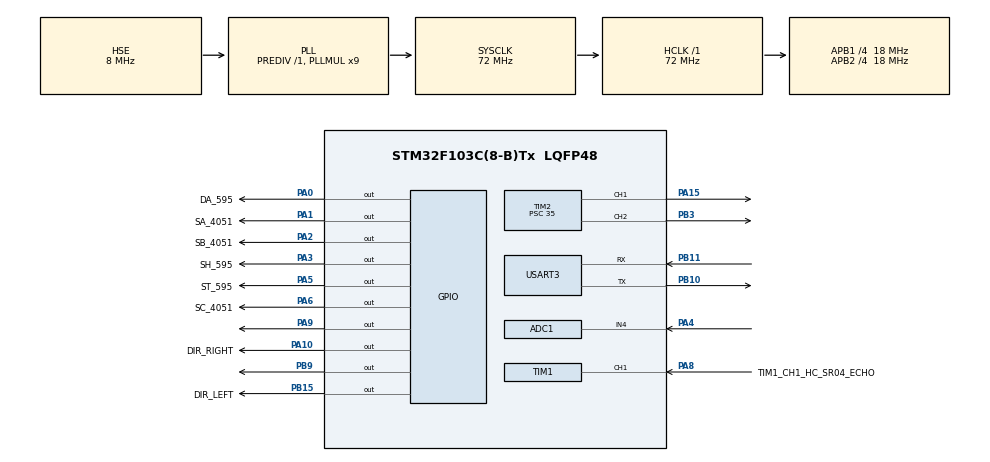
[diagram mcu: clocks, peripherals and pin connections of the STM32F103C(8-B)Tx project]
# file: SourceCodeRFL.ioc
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ADC1.Channel-5\#ChannelRegularConversion=ADC_CHANNEL_4
ADC1.ContinuousConvMode=ENABLE
ADC1.NbrOfConversionFlag=1
ADC1.Rank-5\#ChannelRegularConversion=1
ADC1.SamplingTime-5\#ChannelRegularConversion=ADC_SAMPLETIME_239CYCLES_5
ADC1.master=1
Mcu.Family=STM32F1
Mcu.Name=STM32F103C(8-B)Tx
Mcu.Package=LQFP48
NVIC.PriorityGroup=NVIC_PRIORITYGROUP_4
NVIC.TIM1_CC_IRQn=true\:0\:0\:true\:false\:true\:true\:true\:true
NVIC.TIM4_IRQn=true\:5\:0\:true\:false\:true\:true\:true\:true
NVIC.USART3_IRQn=true\:10\:0\:true\:false\:true\:true\:true\:true
PA0-WKUP.GPIO_Label=DA_595
PA0-WKUP.Signal=GPIO_Output
PA1.GPIO_Label=SA_4051
PA1.GPIO_PuPd=GPIO_NOPULL
PA1.Signal=GPIO_Output
PA10.GPIO_Label=DIR_RIGHT
PA10.Signal=GPIO_Output
PA13.Mode=Serial_Wire
PA13.Signal=SYS_JTMS-SWDIO
PA14.Mode=Serial_Wire
PA14.Signal=SYS_JTCK-SWCLK
PA15.Signal=S_TIM2_CH1_ETR
PA2.GPIO_Label=SB_4051
PA2.GPIO_PuPd=GPIO_NOPULL
PA2.Signal=GPIO_Output
PA3.GPIO_Label=SH_595
PA3.GPIO_PuPd=GPIO_NOPULL
PA3.Signal=GPIO_Output
PA4.Signal=ADCx_IN4
PA5.GPIO_Label=ST_595
PA5.GPIO_PuPd=GPIO_NOPULL
PA5.Signal=GPIO_Output
PA6.GPIO_Label=SC_4051
PA6.GPIO_PuPd=GPIO_NOPULL
PA6.Signal=GPIO_Output
PA8.GPIO_Label=TIM1_CH1_HC_SR04_ECHO
PA8.Signal=S_TIM1_CH1
PA9.Signal=GPIO_Output
PB10.Mode=Asynchronous
PB10.Signal=USART3_TX
PB11.Mode=Asynchronous
PB11.Signal=USART3_RX
PB15.GPIO_Label=DIR_LEFT
PB15.Signal=GPIO_Output
PB3.Signal=S_TIM2_CH2
PB9.Signal=GPIO_Output
PD0-OSC_IN.Mode=HSE-External-Oscillator
PD0-OSC_IN.Signal=RCC_OSC_IN
PD1-OSC_OUT.Mode=HSE-External-Oscillator
PD1-OSC_OUT.Signal=RCC_OSC_OUT
ProjectManager.HeapSize=0x200
ProjectManager.StackSize=0x400
ProjectManager.TargetToolchain=STM32CubeIDE
RCC.AHBFreq_Value=72000000
RCC.APB1CLKDivider=RCC_HCLK_DIV4
RCC.APB1Freq_Value=18000000
RCC.APB1TimFreq_Value=36000000
RCC.APB2CLKDivider=RCC_HCLK_DIV4
RCC.APB2Freq_Value=18000000
RCC.APB2TimFreq_Value=36000000
RCC.HCLKFreq_Value=72000000
RCC.PLLMUL=RCC_PLL_MUL9
RCC.PLLSourceVirtual=RCC_PLLSOURCE_HSE
RCC.SYSCLKFreq_VALUE=72000000
RCC.SYSCLKSource=RCC_SYSCLKSOURCE_PLLCLK
RCC.USBFreq_Value=72000000
SH.ADCx_IN4.0=ADC1_IN4,IN4
SH.S_TIM1_CH1.0=TIM1_CH1,Input_Capture1_from_TI1
SH.S_TIM2_CH1_ETR.0=TIM2_CH1,PWM Generation1 CH1
SH.S_TIM2_CH2.0=TIM2_CH2,PWM Generation2 CH2
TIM1.Channel-Input_Capture1_from_TI1=TIM_CHANNEL_1
TIM1.Period=0xffff-1
TIM1.Prescaler=35
TIM2.Channel-PWM\ Generation1\ CH1=TIM_CHANNEL_1
TIM2.Channel-PWM\ Generation2\ CH2=TIM_CHANNEL_2
TIM2.Period=99
TIM2.Prescaler=35
TIM4.Period=99
TIM4.Prescaler=35
USART3.VirtualMode=VM_ASYNC
VP_TIM1_VS_ClockSourceINT.Mode=Internal
VP_TIM2_VS_ClockSourceINT.Mode=Internal
VP_TIM4_VS_ClockSourceINT.Mode=Internal
board=custom

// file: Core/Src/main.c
/* USER CODE BEGIN Header */
/**
 ******************************************************************************
 * @file           : main.c
 * @brief          : Main program body
 ******************************************************************************
 * @attention
 *
 * Copyright (c) 2023 STMicroelectronics.
 * All rights reserved.
 *
 * This software is licensed under terms that can be found in the LICENSE file
 * in the root directory of this software component.
 * If no LICENSE file comes with this software, it is provided AS-IS.
 *
 ******************************************************************************
 */
/* USER CODE END Header */
#include "main.h"

/* USER CODE BEGIN Includes */
#include<Lib_Sensor.h>
#include<lib_motor.h>
#include<Lib_Controller.h>
#include<lib_uart.h>
#include<HC_SR04.h>
/* USER CODE END Includes */

/* USER CODE BEGIN PD */
#define threshold_main 50
/* USER CODE END PD */

/* USER CODE BEGIN PM */
#define TRIG_PIN GPIO_PIN_9
#define TRIG_PORT GPIOA

//#define ECHO_PIN GPIO_PIN_9
//#define ECHO_PORT GPIOB
/* USER CODE END PM */

ADC_HandleTypeDef hadc1;

TIM_HandleTypeDef htim1;
TIM_HandleTypeDef htim2;
TIM_HandleTypeDef htim4;

UART_HandleTypeDef huart3;

/* USER CODE BEGIN PV */
/*value sp PID func*/
	//                                      |       //Address       Default         Description
	uint16_t threshold_main_def[7] 			= {65, 40, 40, 40, 40, 40, 40};
	uint8_t tim3_1ms_flag 					= 0;
	uint8_t tim3_100ms_flag					= 0;
/*value sp UART*/
	char rxByte 			                = 0;
	uint8_t rxBuffer[10]	                ={0};
	uint8_t rxBufferIndex 	                = 0;
	STATE_ROBOT en_state_robot 				= STOP_ROBOT;
uint16_t ADC_Value_1Line 					= 0;
/* USER CODE END PV */

void SystemClock_Config(void);
static void MX_GPIO_Init(void);
static void MX_ADC1_Init(void);
static void MX_TIM1_Init(void);
static void MX_USART3_UART_Init(void);
static void MX_TIM2_Init(void);
static void MX_TIM4_Init(void);

/* USER CODE BEGIN 0 */
void HAL_UART_RxCpltCallback(UART_HandleTypeDef *huart)
{
	if(rxByte == '\r')
	{
		en_state_robot = bluetooth_check_string_stop_start_robot(rxBuffer);
		bluetooth_rx_change_kx(rxBuffer);
		change_line_sensor_read(rxBuffer);
		for(uint8_t i =0; i < sizeof(rxBuffer); i++)
		{
			rxBuffer[i] = 0;
			rxBufferIndex = 0;
		}
	}
	else
	{
		rxBuffer[rxBufferIndex] = rxByte;
		rxBufferIndex++;
	}
	if(rxBufferIndex >= 20)
	{
		rxBufferIndex = 0;
	}
	HAL_UART_Receive_IT(&huart3, (uint8_t*)&rxByte, 1);
}

void HAL_TIM_PeriodElapsedCallback(TIM_HandleTypeDef *htim)
{
	static uint8_t tim3_1ms_count = 0;
	static uint16_t tim3_100ms_count = 0;
	if (htim->Instance == TIM4)
	{
		tim3_1ms_count++;
		if(tim3_1ms_count	== 10)
		{
			tim3_1ms_count = 0;
			tim3_1ms_flag = 1;
		}
	}

	if (htim->Instance == TIM4)
	{
		tim3_100ms_count++;
		if(tim3_100ms_count	== 1000)
		{
			tim3_100ms_count = 0;
			tim3_100ms_flag = 1;
		}
	}
}
/* USER CODE END 0 */

int main(void)
{

  /* MCU Configuration--------------------------------------------------------*/

  /* Reset of all peripherals, Initializes the Flash interface and the Systick. */
  HAL_Init();

  /* Configure the system clock */
  SystemClock_Config();

  /* USER CODE BEGIN SysInit */
  /*Init GPIO Sensor for Lib*/

  /* USER CODE END SysInit */

  /* Initialize all configured peripherals */
  MX_GPIO_Init();
  MX_ADC1_Init();
  MX_TIM1_Init();
  MX_USART3_UART_Init();
  MX_TIM2_Init();
  MX_TIM4_Init();
  /* USER CODE BEGIN 2 */
  IC74HC4051_Init(hadc1, GPIOA, SA_4051_Pin, SB_4051_Pin, SC_4051_Pin);												// Port: ADC COM // Pin: S0 S1 S2
  IC74HC595_Init(GPIOA, GPIOA, ST_595_GPIO_Port, DA_595_Pin, SH_595_Pin, ST_595_Pin);								// DS SH ST
 	/*Init GPIO Motor for Lib*/
  		TimerInit(	&htim2, &htim2,																					\
  					TIM_CHANNEL_1, TIM_CHANNEL_2, 																	\
					DIR_RIGHT_GPIO_Port, DIR_RIGHT_Pin, 															\
					DIR_LEFT_GPIO_Port, DIR_LEFT_Pin);																\
	/*Init GPIO UART for Lib*/
		bluetooth_init_UART(&huart3);
	/*Init GPIO UART for Lib*/
//		HC_SR04_init(htim1, TIM_CHANNEL_1, TIM_CHANNEL_1, TIM_IT_CC1, TRIG_PORT, TRIG_PIN);
	/*Start counter timer*/
		HAL_TIM_PWM_Start(&htim2, TIM_CHANNEL_1);
		HAL_TIM_PWM_Start(&htim2, TIM_CHANNEL_2);

		HAL_TIM_Base_Start_IT(&htim4);

		HAL_TIM_IC_Start_IT(&htim1, TIM_CHANNEL_1);

	HAL_UART_Receive_IT(&huart3, (uint8_t*)&rxByte, 1);
  /* USER CODE END 2 */

  /* Infinite loop */
  /* USER CODE BEGIN WHILE */
	while (1)
	{
		//abc
		/*100ms lay mau sensor HC_SR04*/
//			if(tim3_100ms_flag == 1)
//			{
//				tim3_100ms_flag = 0;
//				dis = HCSR04_GetDis(); 	/*Value dis: robot_block*/
//			}
		/*Start by bluetooth*/
			switch(en_state_robot)
			{
				case START_ROBOT:
					if(tim3_1ms_flag == 1)
					{
						tim3_1ms_flag = 0;
						PID_control(kx, threshold_main_def);
					}
					break;
				case STOP_ROBOT:
					motor_move(0, 0);
					IC74HC595(0x00);
					break;
				case CHECK_THRESHOLD:
					__NOP();
					break;
				case POWER:
					motor_move(basespeedr, basespeedl);
					break;
				default:
					break;
			}
    /* USER CODE END WHILE */

	}
}

void SystemClock_Config(void)
{
  RCC_OscInitTypeDef RCC_OscInitStruct = {0};
  RCC_ClkInitTypeDef RCC_ClkInitStruct = {0};
  RCC_PeriphCLKInitTypeDef PeriphClkInit = {0};

  /** Initializes the RCC Oscillators according to the specified parameters
  * in the RCC_OscInitTypeDef structure.
  */
  RCC_OscInitStruct.OscillatorType = RCC_OSCILLATORTYPE_HSE;
  RCC_OscInitStruct.HSEState = RCC_HSE_ON;
  RCC_OscInitStruct.HSEPredivValue = RCC_HSE_PREDIV_DIV1;
  RCC_OscInitStruct.HSIState = RCC_HSI_ON;
  RCC_OscInitStruct.PLL.PLLState = RCC_PLL_ON;
  RCC_OscInitStruct.PLL.PLLSource = RCC_PLLSOURCE_HSE;
  RCC_OscInitStruct.PLL.PLLMUL = RCC_PLL_MUL9;
  if (HAL_RCC_OscConfig(&RCC_OscInitStruct) != HAL_OK)
  {
    Error_Handler();
  }

  /** Initializes the CPU, AHB and APB buses clocks
  */
  RCC_ClkInitStruct.ClockType = RCC_CLOCKTYPE_HCLK|RCC_CLOCKTYPE_SYSCLK
                              |RCC_CLOCKTYPE_PCLK1|RCC_CLOCKTYPE_PCLK2;
  RCC_ClkInitStruct.SYSCLKSource = RCC_SYSCLKSOURCE_PLLCLK;
  RCC_ClkInitStruct.AHBCLKDivider = RCC_SYSCLK_DIV1;
  RCC_ClkInitStruct.APB1CLKDivider = RCC_HCLK_DIV4;
  RCC_ClkInitStruct.APB2CLKDivider = RCC_HCLK_DIV4;

  if (HAL_RCC_ClockConfig(&RCC_ClkInitStruct, FLASH_LATENCY_2) != HAL_OK)
  {
    Error_Handler();
  }
  PeriphClkInit.PeriphClockSelection = RCC_PERIPHCLK_ADC;
  PeriphClkInit.AdcClockSelection = RCC_ADCPCLK2_DIV2;
  if (HAL_RCCEx_PeriphCLKConfig(&PeriphClkInit) != HAL_OK)
  {
    Error_Handler();
  }
}

static void MX_ADC1_Init(void)
{

  ADC_ChannelConfTypeDef sConfig = {0};

  /** Common config
  */
  hadc1.Instance = ADC1;
  hadc1.Init.ScanConvMode = ADC_SCAN_DISABLE;
  hadc1.Init.ContinuousConvMode = ENABLE;
  hadc1.Init.DiscontinuousConvMode = DISABLE;
  hadc1.Init.ExternalTrigConv = ADC_SOFTWARE_START;
  hadc1.Init.DataAlign = ADC_DATAALIGN_RIGHT;
  hadc1.Init.NbrOfConversion = 1;
  if (HAL_ADC_Init(&hadc1) != HAL_OK)
  {
    Error_Handler();
  }

  /** Configure Regular Channel
  */
  sConfig.Channel = ADC_CHANNEL_4;
  sConfig.Rank = ADC_REGULAR_RANK_1;
  sConfig.SamplingTime = ADC_SAMPLETIME_239CYCLES_5;
  if (HAL_ADC_ConfigChannel(&hadc1, &sConfig) != HAL_OK)
  {
    Error_Handler();
  }

}

static void MX_TIM1_Init(void)
{

  TIM_ClockConfigTypeDef sClockSourceConfig = {0};
  TIM_MasterConfigTypeDef sMasterConfig = {0};
  TIM_IC_InitTypeDef sConfigIC = {0};

  htim1.Instance = TIM1;
  htim1.Init.Prescaler = 35;
  htim1.Init.CounterMode = TIM_COUNTERMODE_UP;
  htim1.Init.Period = 0xffff-1;
  htim1.Init.ClockDivision = TIM_CLOCKDIVISION_DIV1;
  htim1.Init.RepetitionCounter = 0;
  htim1.Init.AutoReloadPreload = TIM_AUTORELOAD_PRELOAD_DISABLE;
  if (HAL_TIM_Base_Init(&htim1) != HAL_OK)
  {
    Error_Handler();
  }
  sClockSourceConfig.ClockSource = TIM_CLOCKSOURCE_INTERNAL;
  if (HAL_TIM_ConfigClockSource(&htim1, &sClockSourceConfig) != HAL_OK)
  {
    Error_Handler();
  }
  if (HAL_TIM_IC_Init(&htim1) != HAL_OK)
  {
    Error_Handler();
  }
  sMasterConfig.MasterOutputTrigger = TIM_TRGO_RESET;
  sMasterConfig.MasterSlaveMode = TIM_MASTERSLAVEMODE_DISABLE;
  if (HAL_TIMEx_MasterConfigSynchronization(&htim1, &sMasterConfig) != HAL_OK)
  {
    Error_Handler();
  }
  sConfigIC.ICPolarity = TIM_INPUTCHANNELPOLARITY_RISING;
  sConfigIC.ICSelection = TIM_ICSELECTION_DIRECTTI;
  sConfigIC.ICPrescaler = TIM_ICPSC_DIV1;
  sConfigIC.ICFilter = 0;
  if (HAL_TIM_IC_ConfigChannel(&htim1, &sConfigIC, TIM_CHANNEL_1) != HAL_OK)
  {
    Error_Handler();
  }

}

static void MX_TIM2_Init(void)
{

  TIM_ClockConfigTypeDef sClockSourceConfig = {0};
  TIM_MasterConfigTypeDef sMasterConfig = {0};
  TIM_OC_InitTypeDef sConfigOC = {0};

  htim2.Instance = TIM2;
  htim2.Init.Prescaler = 35;
  htim2.Init.CounterMode = TIM_COUNTERMODE_UP;
  htim2.Init.Period = 99;
  htim2.Init.ClockDivision = TIM_CLOCKDIVISION_DIV1;
  htim2.Init.AutoReloadPreload = TIM_AUTORELOAD_PRELOAD_DISABLE;
  if (HAL_TIM_Base_Init(&htim2) != HAL_OK)
  {
    Error_Handler();
  }
  sClockSourceConfig.ClockSource = TIM_CLOCKSOURCE_INTERNAL;
  if (HAL_TIM_ConfigClockSource(&htim2, &sClockSourceConfig) != HAL_OK)
  {
    Error_Handler();
  }
  if (HAL_TIM_PWM_Init(&htim2) != HAL_OK)
  {
    Error_Handler();
  }
  sMasterConfig.MasterOutputTrigger = TIM_TRGO_RESET;
  sMasterConfig.MasterSlaveMode = TIM_MASTERSLAVEMODE_DISABLE;
  if (HAL_TIMEx_MasterConfigSynchronization(&htim2, &sMasterConfig) != HAL_OK)
  {
    Error_Handler();
  }
  sConfigOC.OCMode = TIM_OCMODE_PWM1;
  sConfigOC.Pulse = 0;
  sConfigOC.OCPolarity = TIM_OCPOLARITY_HIGH;
  sConfigOC.OCFastMode = TIM_OCFAST_DISABLE;
  if (HAL_TIM_PWM_ConfigChannel(&htim2, &sConfigOC, TIM_CHANNEL_1) != HAL_OK)
  {
    Error_Handler();
  }
  if (HAL_TIM_PWM_ConfigChannel(&htim2, &sConfigOC, TIM_CHANNEL_2) != HAL_OK)
  {
    Error_Handler();
  }
  HAL_TIM_MspPostInit(&htim2);

}

static void MX_TIM4_Init(void)
{

  TIM_ClockConfigTypeDef sClockSourceConfig = {0};
  TIM_MasterConfigTypeDef sMasterConfig = {0};

  htim4.Instance = TIM4;
  htim4.Init.Prescaler = 35;
  htim4.Init.CounterMode = TIM_COUNTERMODE_UP;
  htim4.Init.Period = 99;
  htim4.Init.ClockDivision = TIM_CLOCKDIVISION_DIV1;
  htim4.Init.AutoReloadPreload = TIM_AUTORELOAD_PRELOAD_DISABLE;
  if (HAL_TIM_Base_Init(&htim4) != HAL_OK)
  {
    Error_Handler();
  }
  sClockSourceConfig.ClockSource = TIM_CLOCKSOURCE_INTERNAL;
  if (HAL_TIM_ConfigClockSource(&htim4, &sClockSourceConfig) != HAL_OK)
  {
    Error_Handler();
  }
  sMasterConfig.MasterOutputTrigger = TIM_TRGO_RESET;
  sMasterConfig.MasterSlaveMode = TIM_MASTERSLAVEMODE_DISABLE;
  if (HAL_TIMEx_MasterConfigSynchronization(&htim4, &sMasterConfig) != HAL_OK)
  {
    Error_Handler();
  }

}

static void MX_USART3_UART_Init(void)
{

  huart3.Instance = USART3;
  huart3.Init.BaudRate = 115200;
  huart3.Init.WordLength = UART_WORDLENGTH_8B;
  huart3.Init.StopBits = UART_STOPBITS_1;
  huart3.Init.Parity = UART_PARITY_NONE;
  huart3.Init.Mode = UART_MODE_TX_RX;
  huart3.Init.HwFlowCtl = UART_HWCONTROL_NONE;
  huart3.Init.OverSampling = UART_OVERSAMPLING_16;
  if (HAL_UART_Init(&huart3) != HAL_OK)
  {
    Error_Handler();
  }

}

static void MX_GPIO_Init(void)
{
  GPIO_InitTypeDef GPIO_InitStruct = {0};

  /* GPIO Ports Clock Enable */
  __HAL_RCC_GPIOD_CLK_ENABLE();
  __HAL_RCC_GPIOA_CLK_ENABLE();
  __HAL_RCC_GPIOB_CLK_ENABLE();

  /*Configure GPIO pin Output Level */
  HAL_GPIO_WritePin(GPIOA, DA_595_Pin|SA_4051_Pin|SB_4051_Pin|SH_595_Pin
                          |ST_595_Pin|SC_4051_Pin|GPIO_PIN_9|DIR_RIGHT_Pin, GPIO_PIN_RESET);

  /*Configure GPIO pin Output Level */
  HAL_GPIO_WritePin(GPIOB, DIR_LEFT_Pin|GPIO_PIN_9, GPIO_PIN_RESET);

  /*Configure GPIO pins : DA_595_Pin SA_4051_Pin SB_4051_Pin SH_595_Pin
                           ST_595_Pin SC_4051_Pin PA9 DIR_RIGHT_Pin */
  GPIO_InitStruct.Pin = DA_595_Pin|SA_4051_Pin|SB_4051_Pin|SH_595_Pin
                          |ST_595_Pin|SC_4051_Pin|GPIO_PIN_9|DIR_RIGHT_Pin;
  GPIO_InitStruct.Mode = GPIO_MODE_OUTPUT_PP;
  GPIO_InitStruct.Pull = GPIO_NOPULL;
  GPIO_InitStruct.Speed = GPIO_SPEED_FREQ_LOW;
  HAL_GPIO_Init(GPIOA, &GPIO_InitStruct);

  /*Configure GPIO pins : DIR_LEFT_Pin PB9 */
  GPIO_InitStruct.Pin = DIR_LEFT_Pin|GPIO_PIN_9;
  GPIO_InitStruct.Mode = GPIO_MODE_OUTPUT_PP;
  GPIO_InitStruct.Pull = GPIO_NOPULL;
  GPIO_InitStruct.Speed = GPIO_SPEED_FREQ_LOW;
  HAL_GPIO_Init(GPIOB, &GPIO_InitStruct);

}

void Error_Handler(void)
{
	__disable_irq();
	while (1) {
	}
}
